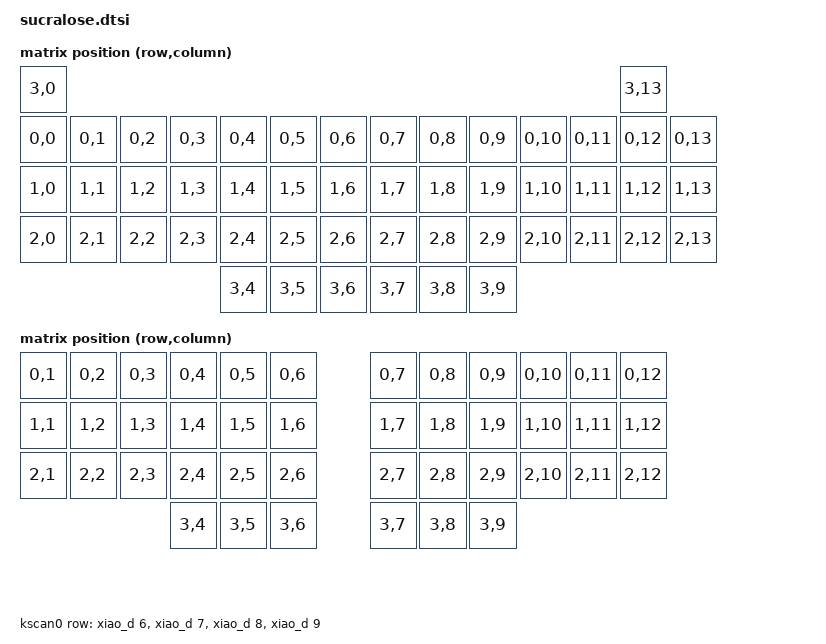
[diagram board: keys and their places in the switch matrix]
/*
 * Copyright (c) 2026 The ZMK Contributors
 *
 * SPDX-License-Identifier: MIT
 */

#include <dt-bindings/zmk/matrix_transform.h>

#include "sucralose-layouts.dtsi"

/ {
    chosen {
        zmk,kscan = &kscan0;
        zmk,physical-layout = &sucralose_7col_layout;
    };

    default_transform: keymap_transform_0 {
        compatible = "zmk,matrix-transform";
        columns = <14>;
        rows = <4>;
// | C6R3 |                                                                                                       | C6R3 |
// | C6R0 | C0R0 | C1R0 | C2R0 | C3R0 | C4R0 | C5R0 |   | C5R0 | C4R0 | C3R0 | C2R0 | C1R0 | C0R0 | C6R0 |
// | C6R1 | C0R1 | C1R1 | C2R1 | C3R1 | C4R1 | C5R1 |   | C5R1 | C4R1 | C3R1 | C2R1 | C1R1 | C0R1 | C6R1 |
// | C6R2 | C0R2 | C1R2 | C2R2 | C3R2 | C4R2 | C5R2 |   | C5R2 | C4R2 | C3R2 | C2R2 | C1R2 | C0R2 | C6R2 |
//                             | C3R3 | C4R3 | C5R3 |   | C5R3 | C4R3 | C3R3 |
// Silkscreen labels. COL0 is the pinky column on both halves; COL6 is the
// breakaway strip outboard of it, and C6R3 sits above C6R0. C5R3 is the 1.5u
// thumb nearest the split.
        map = <
RC(3,0)                                                                                               RC(3,13)
RC(0,0) RC(0,1) RC(0,2) RC(0,3) RC(0,4) RC(0,5) RC(0,6)  RC(0,7) RC(0,8) RC(0,9) RC(0,10) RC(0,11) RC(0,12) RC(0,13)
RC(1,0) RC(1,1) RC(1,2) RC(1,3) RC(1,4) RC(1,5) RC(1,6)  RC(1,7) RC(1,8) RC(1,9) RC(1,10) RC(1,11) RC(1,12) RC(1,13)
RC(2,0) RC(2,1) RC(2,2) RC(2,3) RC(2,4) RC(2,5) RC(2,6)  RC(2,7) RC(2,8) RC(2,9) RC(2,10) RC(2,11) RC(2,12) RC(2,13)
                                RC(3,4) RC(3,5) RC(3,6)  RC(3,7) RC(3,8) RC(3,9)
        >;
    };

    six_col_transform: keymap_transform_1 {
        compatible = "zmk,matrix-transform";
        columns = <14>;
        rows = <4>;
// default_transform without COL6.
        map = <
RC(0,1) RC(0,2) RC(0,3) RC(0,4) RC(0,5) RC(0,6)  RC(0,7) RC(0,8) RC(0,9) RC(0,10) RC(0,11) RC(0,12)
RC(1,1) RC(1,2) RC(1,3) RC(1,4) RC(1,5) RC(1,6)  RC(1,7) RC(1,8) RC(1,9) RC(1,10) RC(1,11) RC(1,12)
RC(2,1) RC(2,2) RC(2,3) RC(2,4) RC(2,5) RC(2,6)  RC(2,7) RC(2,8) RC(2,9) RC(2,10) RC(2,11) RC(2,12)
                        RC(3,4) RC(3,5) RC(3,6)  RC(3,7) RC(3,8) RC(3,9)
        >;
    };

    /*
     * One reversible PCB serves both halves and both XIAO lands carry the
     * same nets, so the pins are identical; only the column order differs
     * (see sucralose_left/right.overlay). Pin choices: docs/PINOUT.md.
     * COL6 is scanned whether or not the strip is attached; a snapped board
     * just never sees those keys.
     */
    kscan0: kscan {
        compatible = "zmk,kscan-gpio-matrix";
        wakeup-source;

        diode-direction = "col2row";
        row-gpios
            = <&xiao_d 6 (GPIO_ACTIVE_HIGH | GPIO_PULL_DOWN)>  /* ROW0 */
            , <&xiao_d 7 (GPIO_ACTIVE_HIGH | GPIO_PULL_DOWN)>  /* ROW1 */
            , <&xiao_d 8 (GPIO_ACTIVE_HIGH | GPIO_PULL_DOWN)>  /* ROW2 */
            , <&xiao_d 9 (GPIO_ACTIVE_HIGH | GPIO_PULL_DOWN)>  /* ROW3 */
            ;
    };
};
